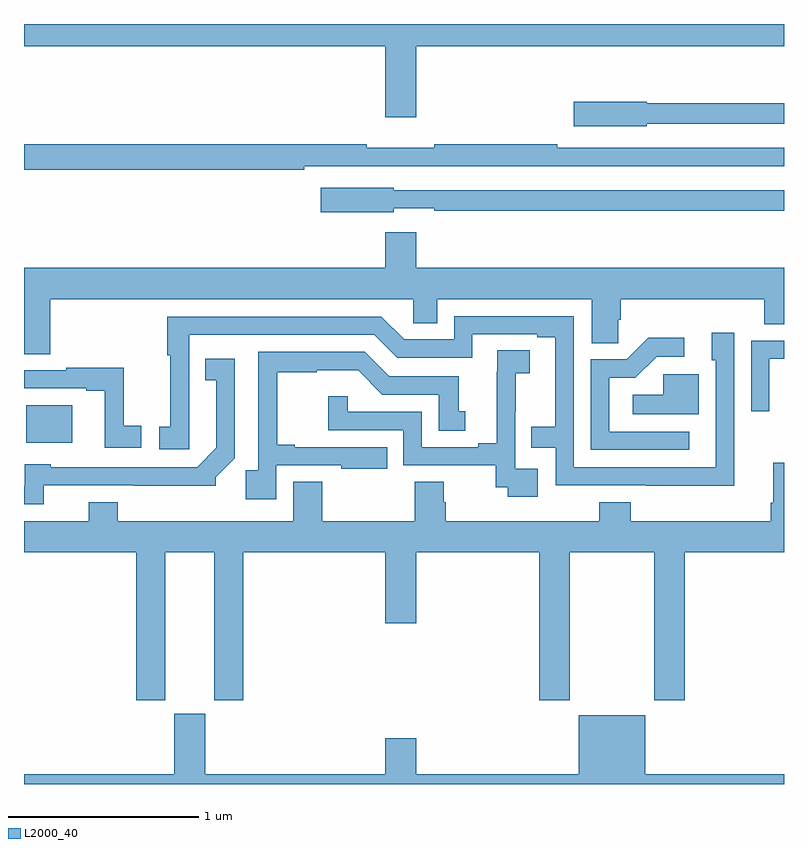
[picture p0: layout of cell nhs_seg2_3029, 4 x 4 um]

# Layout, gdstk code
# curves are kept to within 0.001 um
import gdstk
lib = gdstk.Library(unit=1e-6, precision=1e-09)
def R(c, l, rs):  # rectangles x0, y0, x1, y1
    for r in rs: c.add(gdstk.rectangle(r[:2], r[2:], *l))
def P(c, l, *ps):  # polygons
    for p in ps: c.add(gdstk.Polygon(p, *l))
L2000_40 = (2000, 40)

nhs_seg2_3029 = lib.new_cell('nhs_seg2_3029')
R(nhs_seg2_3029, L2000_40, [(271.013,597.596,271.255,597.793)])
P(nhs_seg2_3029, L2000_40, [(273.064,599.684),(275,599.684),(275,599.8),(271,599.8),(271,599.684),(272.9,599.684),(272.9,599.31),(273.064,599.31)],
  [(274.278,599.274),(275,599.274),(275,599.383),(274.278,599.383),(274.278,599.391),(273.894,599.391),(273.894,599.261),(274.278,599.261)],
  [(272.474,599.052),(275,599.052),(275,599.148),(273.806,599.148),(273.806,599.168),(273.16,599.168),(273.16,599.149),(272.804,599.149),(272.804,599.168),(271,599.168),(271,599.032),(272.474,599.032)],
  [(272.946,598.83),(273.16,598.83),(273.16,598.818),(275,598.818),(275,598.926),(272.946,598.926),(272.946,598.939),(272.562,598.939),(272.562,598.81),(272.946,598.81)],
  [(271.139,598.352),(273.048,598.352),(273.048,598.225),(273.175,598.225),(273.175,598.352),(273.989,598.352),(273.989,598.12),(274.128,598.12),(274.128,598.243),(274.142,598.243),(274.142,598.352),(274.895,598.352),(274.895,598.219),(275,598.219),(275,598.516),(273.064,598.516),(273.064,598.705),(272.9,598.705),(272.9,598.516),(271,598.516),(271,598.063),(271.139,598.063)],
  [(274.739,597.674),(274.737,597.674),(274.737,598.174),(274.619,598.174),(274.619,598.029),(274.641,598.029),(274.641,597.468),(273.894,597.468),(273.894,598.263),(273.264,598.263),(273.264,598.14),(273,598.14),(272.88,598.26),(271.753,598.26),(271.753,598.057),(271.771,598.057),(271.771,597.681),(271.713,597.681),(271.713,597.561),(271.87,597.561),(271.869,598.164),(272.844,598.164),(272.964,598.044),(273.36,598.044),(273.36,598.167),(273.701,598.167),(273.701,598.152),(273.797,598.152),(273.797,597.679),(273.67,597.679),(273.67,597.57),(273.798,597.57),(273.798,597.372),(274.739,597.371)],
  [(274.501,597.654),(274.08,597.654),(274.08,597.939),(274.218,597.939),(274.329,598.05),(274.474,598.05),(274.474,598.148),(274.286,598.148),(274.173,598.035),(273.984,598.035),(273.984,597.558),(274.501,597.558)],
  [(274.923,598.038),(275,598.038),(275,598.134),(274.827,598.134),(274.827,597.762),(274.923,597.762)],
  [(273.703,597.459),(273.585,597.459),(273.585,597.763),(273.587,597.763),(273.587,597.961),(273.661,597.961),(273.661,598.082),(273.49,598.082),(273.49,597.971),(273.488,597.971),(273.488,597.593),(273.392,597.593),(273.392,597.573),(273.093,597.573),(273.093,597.759),(272.703,597.759),(272.703,597.841),(272.602,597.841),(272.602,597.663),(272.997,597.663),(272.997,597.477),(273.484,597.477),(273.484,597.363),(273.547,597.363),(273.547,597.312),(273.703,597.312)],
  [(272.328,597.477),(272.669,597.477),(272.669,597.458),(272.912,597.458),(272.912,597.573),(272.425,597.573),(272.425,597.586),(272.333,597.586),(272.333,597.966),(272.54,597.966),(272.54,597.977),(272.758,597.977),(272.886,597.849),(273.182,597.849),(273.182,597.658),(273.322,597.658),(273.322,597.762),(273.289,597.762),(273.289,597.945),(272.922,597.945),(272.793,598.074),(272.232,598.074),(272.232,597.451),(272.167,597.451),(272.167,597.3),(272.328,597.3)],
  [(271.104,597.372),(272.01,597.371),(272.01,597.415),(272.109,597.514),(272.109,598.039),(271.954,598.039),(271.954,597.926),(272.012,597.926),(272.012,597.569),(271.911,597.468),(271.14,597.468),(271.14,597.484),(271.004,597.484),(271.004,597.369),(271,597.369),(271,597.273),(271.104,597.273)],
  [(271.618,597.686),(271.524,597.686),(271.524,597.991),(271.222,597.991),(271.222,597.978),(271,597.978),(271,597.882),(271.328,597.882),(271.328,597.87),(271.424,597.87),(271.424,597.57),(271.618,597.57)],
  [(274.552,597.957),(274.365,597.957),(274.365,597.85),(274.203,597.85),(274.203,597.746),(274.552,597.746)],
  [(271.744,597.02),(272,597.02),(272,596.241),(272.153,596.241),(272.153,597.02),(272.9,597.02),(272.9,596.646),(273.064,596.646),(273.064,597.02),(273.713,597.02),(273.713,596.241),(273.873,596.241),(273.873,597.02),(274.318,597.02),(274.318,596.241),(274.478,596.241),(274.478,597.02),(275,597.02),(275,597.492),(274.943,597.492),(274.943,597.28),(274.931,597.28),(274.931,597.184),(274.193,597.184),(274.193,597.283),(274.028,597.283),(274.028,597.184),(273.221,597.184),(273.221,597.282),(273.208,597.282),(273.208,597.392),(273.056,597.392),(273.056,597.184),(272.57,597.184),(272.57,597.392),(272.417,597.392),(272.417,597.184),(271.493,597.184),(271.493,597.283),(271.34,597.283),(271.34,597.184),(271,597.184),(271,597.02),(271.592,597.02),(271.592,596.241),(271.744,596.241)],
  [(275,595.852),(274.27,595.852),(274.27,596.161),(273.92,596.161),(273.92,595.852),(273.064,595.852),(273.064,596.041),(272.9,596.041),(272.9,595.852),(271.954,595.852),(271.954,596.169),(271.79,596.169),(271.79,595.852),(271,595.852),(271,595.8),(275,595.8)])

lib.write_gds('nhs_seg2_3029.gds')
